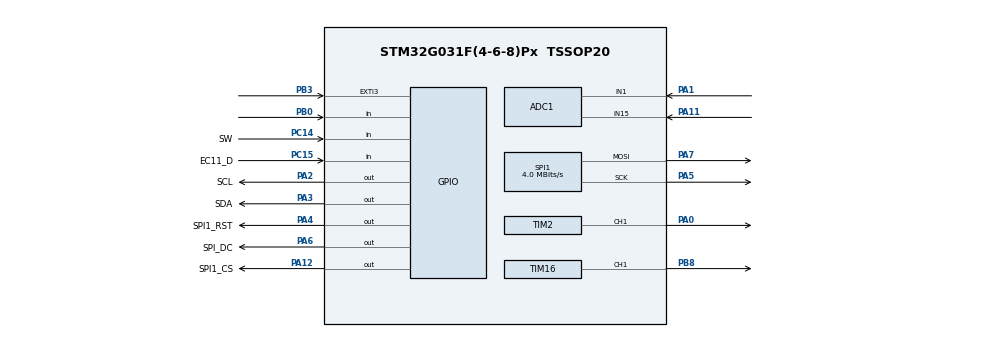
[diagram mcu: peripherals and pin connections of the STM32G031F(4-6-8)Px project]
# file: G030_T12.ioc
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ADC1.DMAContinuousRequests=DISABLE
ADC1.DiscontinuousConvMode=ENABLE
ADC1.EnableAnalogWatchDog1=false
ADC1.ExternalTrigConv=ADC_SOFTWARE_START
ADC1.NbrOfConversion=1
ADC1.NbrOfConversionFlag=0
ADC1.SamplingTimeCommon1=ADC_SAMPLETIME_160CYCLES_5
ADC1.SelectedChannel=ADC_CHANNEL_1|ADC_CHANNEL_TEMPSENSOR|ADC_CHANNEL_VREFINT|ADC_CHANNEL_15
ADC1.Sequencer=NOT_FULLY_CONFIGURABLE
ADC1.master=1
Dma.ADC1.0.Direction=DMA_PERIPH_TO_MEMORY
Dma.ADC1.0.EventEnable=DISABLE
Dma.ADC1.0.Instance=DMA1_Channel1
Dma.ADC1.0.MemDataAlignment=DMA_MDATAALIGN_HALFWORD
Dma.ADC1.0.MemInc=DMA_MINC_ENABLE
Dma.ADC1.0.Mode=DMA_CIRCULAR
Dma.ADC1.0.PeriphDataAlignment=DMA_PDATAALIGN_HALFWORD
Dma.ADC1.0.PeriphInc=DMA_PINC_DISABLE
Dma.ADC1.0.Polarity=HAL_DMAMUX_REQ_GEN_RISING
Dma.ADC1.0.Priority=DMA_PRIORITY_LOW
Dma.ADC1.0.RequestNumber=1
Dma.ADC1.0.SignalID=NONE
Dma.ADC1.0.SyncEnable=DISABLE
Dma.ADC1.0.SyncPolarity=HAL_DMAMUX_SYNC_NO_EVENT
Dma.ADC1.0.SyncRequestNumber=1
Dma.ADC1.0.SyncSignalID=NONE
Dma.Request0=ADC1
Mcu.Family=STM32G0
Mcu.Name=STM32G031F(4-6-8)Px
Mcu.Package=TSSOP20
NVIC.DMA1_Channel1_IRQn=true\:0\:0\:false\:false\:true\:false\:true\:true
NVIC.EXTI2_3_IRQn=true\:0\:0\:false\:false\:true\:true\:true\:true
PA0.Signal=S_TIM2_CH1_ETR
PA1.Mode=IN1
PA1.Signal=ADC1_IN1
PA11\ [PA9].Mode=IN15
PA11\ [PA9].Signal=ADC1_IN15
PA12\ [PA10].GPIO_Label=SPI1_CS
PA12\ [PA10].GPIO_Speed=GPIO_SPEED_FREQ_HIGH
PA12\ [PA10].Signal=GPIO_Output
PA13.Mode=Serial_Wire
PA13.Signal=SYS_SWDIO
PA14-BOOT0.Mode=Serial_Wire
PA14-BOOT0.Signal=SYS_SWCLK
PA14-BOOT0__PA15.StandardMode=true
PA2.GPIO_Label=SCL
PA2.GPIO_ModeDefaultOutputPP=GPIO_MODE_OUTPUT_OD
PA2.GPIO_PuPd=GPIO_NOPULL
PA2.Signal=GPIO_Output
PA3.GPIO_Label=SDA
PA3.GPIO_ModeDefaultOutputPP=GPIO_MODE_OUTPUT_OD
PA3.GPIO_PuPd=GPIO_NOPULL
PA3.Signal=GPIO_Output
PA4.GPIO_Label=SPI1_RST
PA4.GPIO_Speed=GPIO_SPEED_FREQ_HIGH
PA4.Signal=GPIO_Output
PA5.GPIO_Speed=GPIO_SPEED_FREQ_VERY_HIGH
PA5.Mode=TX_Only_Simplex_Unidirect_Master
PA5.Signal=SPI1_SCK
PA6.GPIO_Label=SPI_DC
PA6.GPIO_Speed=GPIO_SPEED_FREQ_HIGH
PA6.Signal=GPIO_Output
PA7.GPIO_Speed=GPIO_SPEED_FREQ_VERY_HIGH
PA7.Mode=TX_Only_Simplex_Unidirect_Master
PA7.Signal=SPI1_MOSI
PB0.Signal=GPIO_Input
PB0__PB1__PB2__PA8.StandardMode=true
PB3.Signal=GPXTI3
PB3__PB4__PB5__PB6.StandardMode=true
PB7__PB8.StandardMode=true
PB8.Signal=S_TIM16_CH1
PC14-OSC32_IN\ (PC14).GPIO_Label=SW
PC14-OSC32_IN\ (PC14).Signal=GPIO_Input
PC14-OSC32_IN\ (PC14)__PB9.StandardMode=true
PC15-OSC32_OUT\ (PC15).GPIO_Label=EC11_D
PC15-OSC32_OUT\ (PC15).GPIO_PuPd=GPIO_NOPULL
PC15-OSC32_OUT\ (PC15).Signal=GPIO_Input
ProjectManager.HeapSize=0x200
ProjectManager.StackSize=0x400
ProjectManager.TargetToolchain=MDK-ARM V5.32
RCC.ADCFreq_Value=64000000
RCC.AHBFreq_Value=64000000
RCC.CortexFreq_Value=64000000
RCC.EXTERNAL_CLOCK_VALUE=12288000
RCC.HCLKFreq_Value=64000000
RCC.HSE_VALUE=8000000
RCC.HSI_VALUE=16000000
RCC.LSE_VALUE=32768
RCC.SYSCLKFreq_VALUE=64000000
RCC.SYSCLKSource=RCC_SYSCLKSOURCE_PLLCLK
RCC.VCOOutputFreq_Value=128000000
SH.S_TIM16_CH1.0=TIM16_CH1,PWM Generation1 CH1
SH.S_TIM2_CH1_ETR.0=TIM2_CH1,PWM Generation1 CH1
SPI1.BaudRatePrescaler=SPI_BAUDRATEPRESCALER_16
SPI1.CLKPhase=SPI_PHASE_2EDGE
SPI1.CLKPolarity=SPI_POLARITY_HIGH
SPI1.CalculateBaudRate=4.0 MBits/s
SPI1.Direction=SPI_DIRECTION_2LINES
SPI1.Mode=SPI_MODE_MASTER
SPI1.VirtualType=VM_MASTER
TIM16.Channel=TIM_CHANNEL_1
TIM16.Period=65306
TIM16.Prescaler=1
TIM16.Pulse=10000
TIM2.Channel-PWM\ Generation1\ CH1=TIM_CHANNEL_1
TIM2.Period=250
TIM2.Prescaler=63
TIM2.Pulse-PWM\ Generation1\ CH1=125
VP_ADC1_TempSens_Input.Mode=IN-TempSens
VP_ADC1_Vref_Input.Mode=IN-Vrefint
VP_TIM16_VS_ClockSourceINT.Mode=Enable_Timer
VP_TIM2_VS_ClockSourceINT.Mode=Internal
board=custom

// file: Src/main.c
/* USER CODE BEGIN Header */
/**
 ******************************************************************************
 * @file           : main.c
 * @brief          : Main program body
 ******************************************************************************
 * @attention
 *
 * Copyright (c) 2024 STMicroelectronics.
 * All rights reserved.
 *
 * This software is licensed under terms that can be found in the LICENSE file
 * in the root directory of this software component.
 * If no LICENSE file comes with this software, it is provided AS-IS.
 *
 ******************************************************************************
 */
/* USER CODE END Header */
#include "main.h"
#include "adc.h"
#include "dma.h"
#include "spi.h"
#include "tim.h"
#include "gpio.h"

/* USER CODE BEGIN Includes */
#include "SEGGER_RTT.h"
#include "stdio.h"
#include "u8g2.h"
#include "oled_driver.h"

/* USER CODE END Includes */

/* USER CODE BEGIN PD */
#define VERSION "v1.8"
#define N_MOSFET

#define TEMP_MIN 150     // min selectable temperature
#define TEMP_MAX 400     // max selectable temperature
#define TEMP_DEFAULT 320 // default start setpoint
#define TEMP_SLEEP 150   // temperature in sleep mode
#define TEMP_BOOST 50    // temperature increase in boost mode
#define TEMP_STEP 10     // rotary encoder temp change steps

#define TEMP200 216     // temperature at ADC = 200
#define TEMP280 308     // temperature at ADC = 280
#define TEMP360 390     // temperature at ADC = 360
#define TEMPCHP 30      // chip temperature while calibration
#define TIPMAX 8        // max number of tips
#define TIPNAMELENGTH 6 // max length of tip names (including termination)
#define TIPNAME "T12-K" // default tip name

#define TIME2SLEEP 5   // time to enter sleep mode in minutes
#define TIME2OFF 15    // time to shut off heater in minutes
#define TIMEOFBOOST 40 // time to stay in boost mode in seconds

#define TIME2SETTLE 950  // time in microseconds to allow OpAmp output to settle
#define SMOOTHIE 0.05    // OpAmp output smooth factor (1=no smoothing; 0.05 default)
#define PID_ENABLE false // enable PID control
#define BEEP_ENABLE true // enable/disable buzzer
#define MAINSCREEN 0     // type of main screen (0: big numbers; 1: more infos)

#define EEPROM_IDENT 0xE76C // to identify if EEPROM was written by this program

#if defined(P_MOSFET) // P-Channel MOSFET
#define HEATER_ON 255
#define HEATER_OFF 0
#define HEATER_PWM 255 - Output
#elif defined(N_MOSFET) // N-Channel MOSFET
#define HEATER_ON 0
#define HEATER_OFF 255
#define HEATER_PWM Output
#else
#error Wrong MOSFET type!
#endif

double aggKp = 11, aggKi = 0.5, aggKd = 1;
double consKp = 11, consKi = 3, consKd = 5;

uint16_t DefaultTemp = TEMP_DEFAULT;
uint16_t SleepTemp = TEMP_SLEEP;
uint8_t BoostTemp = TEMP_BOOST;
uint8_t time2sleep = TIME2SLEEP;
uint8_t time2off = TIME2OFF;
uint8_t timeOfBoost = TIMEOFBOOST;
uint8_t MainScrType = MAINSCREEN;
bool PIDenable = PID_ENABLE;
bool beepEnable = BEEP_ENABLE;

uint16_t CalTemp[TIPMAX][4] = {TEMP200, TEMP280, TEMP360, TEMPCHP};
char TipName[TIPMAX][TIPNAMELENGTH] = {TIPNAME};
uint8_t CurrentTip = 0;
uint8_t NumberOfTips = 1;

const char *SetupItems[] = {"Setup Menu", "Tip Settings", "Temp Settings",
                            "Timer Settings", "Control Type", "Main Screen",
                            "Buzzer", "Information", "Return"};
const char *TipItems[] = {"Tip:", "Change Tip", "Calibrate Tip",
                          "Rename Tip", "Delete Tip", "Add new Tip", "Return"};
const char *TempItems[] = {"Temp Settings", "Default Temp", "Sleep Temp",
                           "Boost Temp", "Return"};
const char *TimerItems[] = {"Timer Settings", "Sleep Timer", "Off Timer",
                            "Boost Timer", "Return"};
const char *ControlTypeItems[] = {"Control Type", "Direct", "PID"};
const char *MainScreenItems[] = {"Main Screen", "Big Numbers", "More Infos"};
const char *StoreItems[] = {"Store Settings ?", "No", "Yes"};
const char *SureItems[] = {"Are you sure ?", "No", "Yes"};
const char *BuzzerItems[] = {"Buzzer", "Disable", "Enable"};
const char *DefaultTempItems[] = {"Default Temp", "deg C"};
const char *SleepTempItems[] = {"Sleep Temp", "deg C"};
const char *BoostTempItems[] = {"Boost Temp", "deg C"};
const char *SleepTimerItems[] = {"Sleep Timer", "Minutes"};
const char *OffTimerItems[] = {"Off Timer", "Minutes"};
const char *BoostTimerItems[] = {"Boost Timer", "Seconds"};
const char *DeleteMessage[] = {"Warning", "You cannot", "delete your", "last tip!"};
const char *MaxTipMessage[] = {"Warning", "You reached", "maximum number", "of tips!"};

volatile uint8_t a0, b0, c0, d0;
volatile bool ab0;
volatile int count, countMin, countMax, countStep;
volatile bool handleMoved;

uint16_t SetTemp, ShowTemp, gap, Step;
double Input, Output, Setpoint, RawTemp, CurrentTemp, ChipTemp;

uint16_t Vcc, Vin;

bool inSleepMode = false;
bool inOffMode = false;
bool inBoostMode = false;
bool inCalibMode = false;
bool isWorky = true;
bool beepIfWorky = true;
bool TipIsPresent = true;

uint32_t sleepmillis;
uint32_t boostmillis;
uint32_t buttonmillis;
uint8_t goneMinutes;
uint8_t goneSeconds;
uint8_t SensorCounter = 255;

/* USER CODE END PD */

/* USER CODE BEGIN PV */
static u8g2_t u8g2;
/* USER CODE END PV */

void SystemClock_Config(void);
/* USER CODE BEGIN PFP */
void getChipTemp(void);
/* USER CODE END PFP */

/* USER CODE BEGIN 0 */
uint16_t encoder_value = 200, tim_now, tim_last;
uint16_t ADC_Buf[4] = {0};

uint16_t map(uint16_t value, uint16_t inMin, uint16_t inMax, uint16_t outMin, uint16_t outMax)
{
  return (value - inMin) * (outMax - outMin) / (inMax - inMin) + outMin;
}

// calculates real temperature value according to ADC reading and calibration values
void calculateTemp()
{
  if (RawTemp < 200)
    CurrentTemp = map(RawTemp, 0, 200, 21, CalTemp[CurrentTip][0]);
  else if (RawTemp < 280)
    CurrentTemp = map(RawTemp, 200, 280, CalTemp[CurrentTip][0], CalTemp[CurrentTip][1]);
  else
    CurrentTemp = map(RawTemp, 280, 360, CalTemp[CurrentTip][1], CalTemp[CurrentTip][2]);
}

/* USER CODE END 0 */

int main(void)
{

  /* MCU Configuration--------------------------------------------------------*/

  /* Reset of all peripherals, Initializes the Flash interface and the Systick. */
  LL_APB2_GRP1_EnableClock(LL_APB2_GRP1_PERIPH_SYSCFG);
  LL_APB1_GRP1_EnableClock(LL_APB1_GRP1_PERIPH_PWR);

  /* SysTick_IRQn interrupt configuration */
  NVIC_SetPriority(SysTick_IRQn, 3);

  /* Configure the system clock */
  SystemClock_Config();

  /* Initialize all configured peripherals */
  MX_GPIO_Init();
  MX_DMA_Init();
  MX_ADC1_Init();
  MX_TIM16_Init();
  MX_SPI1_Init();
  MX_TIM2_Init();
  /* USER CODE BEGIN 2 */
  Activate_ADC();
  LL_DMA_ConfigAddresses(DMA1, LL_DMA_CHANNEL_1, LL_ADC_DMA_GetRegAddr(ADC1, LL_ADC_DMA_REG_REGULAR_DATA), (uint32_t)&ADC_Buf, LL_DMA_DIRECTION_PERIPH_TO_MEMORY);
  LL_DMA_SetDataLength(DMA1, LL_DMA_CHANNEL_1, 4);
  LL_DMA_EnableChannel(DMA1, LL_DMA_CHANNEL_1);
  SEGGER_RTT_Init();
  SEGGER_RTT_printf(0, "Hello world!\r\n");
  //	LL_TIM_EnableCounter(TIM1);
  //	LL_TIM_EnableAllOutputs(TIM1);
  //	LL_TIM_CC_EnableChannel(TIM1, LL_TIM_CHANNEL_CH1);
  //	LL_TIM_CC_EnableChannel(TIM1, LL_TIM_CHANNEL_CH2);
  LL_TIM_EnableAllOutputs(TIM2);
  LL_TIM_CC_EnableChannel(TIM2, LL_TIM_CHANNEL_CH1);
  LL_TIM_DisableCounter(TIM16);
  LL_TIM_EnableAllOutputs(TIM16);
  LL_TIM_CC_EnableChannel(TIM16, LL_TIM_CHANNEL_CH1);

  u8g2_Setup_ssd1306_128x64_noname_f(&u8g2, U8G2_R0, u8x8_byte_4wire_hw_spi, u8x8_stm32_gpio_and_delay);
  u8g2_InitDisplay(&u8g2);
  u8g2_SetPowerSave(&u8g2, 0);
  LL_TIM_SetCounter(TIM1, 1000);
  tim_last = LL_TIM_GetCounter(TIM1);
  /* USER CODE END 2 */

  /* Infinite loop */
  /* USER CODE BEGIN WHILE */
  while (1)
  {
    LL_ADC_REG_StartConversion(ADC1);
    LL_ADC_REG_SetDMATransfer(ADC1, LL_ADC_REG_DMA_TRANSFER_UNLIMITED);
    getChipTemp();
    MainScreen(&u8g2);
    //		tim_now = LL_TIM_GetCounter(TIM1);
    //		if(tim_last != tim_now)
    //		{
    //			if(tim_last > tim_now)
    //			{
    //				encoder_value += 5;
    //				LL_TIM_EnableCounter(TIM16);
    //			}
    //			else
    //			{
    //				encoder_value -= 5;
    //				LL_TIM_DisableCounter(TIM16);
    //			}
    //			tim_last = tim_now;
    //		}
    LL_mDelay(10);
    //		LL_TIM_EnableCounter(TIM2);
    //		LL_mDelay(500);
    //		LL_TIM_DisableCounter(TIM2);
    //		LL_mDelay(500);
    /* USER CODE END WHILE */

  }
}

void SystemClock_Config(void)
{
  LL_FLASH_SetLatency(LL_FLASH_LATENCY_2);
  while (LL_FLASH_GetLatency() != LL_FLASH_LATENCY_2)
  {
  }

  /* HSI configuration and activation */
  LL_RCC_HSI_Enable();
  while (LL_RCC_HSI_IsReady() != 1)
  {
  }

  /* Main PLL configuration and activation */
  LL_RCC_PLL_ConfigDomain_SYS(LL_RCC_PLLSOURCE_HSI, LL_RCC_PLLM_DIV_1, 8, LL_RCC_PLLR_DIV_2);
  LL_RCC_PLL_Enable();
  LL_RCC_PLL_EnableDomain_SYS();
  while (LL_RCC_PLL_IsReady() != 1)
  {
  }

  /* Set AHB prescaler*/
  LL_RCC_SetAHBPrescaler(LL_RCC_SYSCLK_DIV_1);

  /* Sysclk activation on the main PLL */
  LL_RCC_SetSysClkSource(LL_RCC_SYS_CLKSOURCE_PLL);
  while (LL_RCC_GetSysClkSource() != LL_RCC_SYS_CLKSOURCE_STATUS_PLL)
  {
  }

  /* Set APB1 prescaler*/
  LL_RCC_SetAPB1Prescaler(LL_RCC_APB1_DIV_1);

  LL_Init1msTick(64000000);

  /* Update CMSIS variable (which can be updated also through SystemCoreClockUpdate function) */
  LL_SetSystemCoreClock(64000000);
}

/* USER CODE BEGIN 4 */

int stdout_putchar(int ch)
{
  return (SEGGER_RTT_PutChar(0, ch));
}

void MainScreen(u8g2_t *u8g2)
{
  char sprintf_tmp[8] = {0};
  u8g2_FirstPage(u8g2);
  u8g2_SetFontMode(u8g2, 1);
  u8g2_SetFontDirection(u8g2, 0);
  do
  {
    u8g2_SetFont(u8g2, u8g2_font_9x15_te);
    u8g2_DrawStr(u8g2, 0, 10, "SET:");
    u8g2_DrawStr(u8g2, 40, 10, "200");
    u8g2_DrawStr(u8g2, 83, 10, "  OFF");
    u8g2_DrawStr(u8g2, 0, 62, "T12-KU");
    sprintf(sprintf_tmp, "%.1fV", ((float)ADC_Buf[0] / 4096) * 3.3 * ((47 + 4.7) / 4.7));
    u8g2_DrawStr(u8g2, 83, 62, sprintf_tmp);

    u8g2_SetFont(u8g2, u8g2_font_freedoomr25_mn);
    sprintf(sprintf_tmp, "%d", encoder_value);
    u8g2_DrawStr(u8g2, 37, 45, sprintf_tmp);
  } while (u8g2_NextPage(u8g2));
}

void getChipTemp(void)
{
  uint32_t ADC_VCC;
  ADC_VCC = __LL_ADC_CALC_VREFANALOG_VOLTAGE(ADC_Buf[2], LL_ADC_RESOLUTION_12B); //
  ChipTemp = __LL_ADC_CALC_TEMPERATURE(ADC_VCC, ADC_Buf[1], LL_ADC_RESOLUTION_12B);
}
/* USER CODE END 4 */

void Error_Handler(void)
{
  __disable_irq();
  while (1)
  {
  }
}
